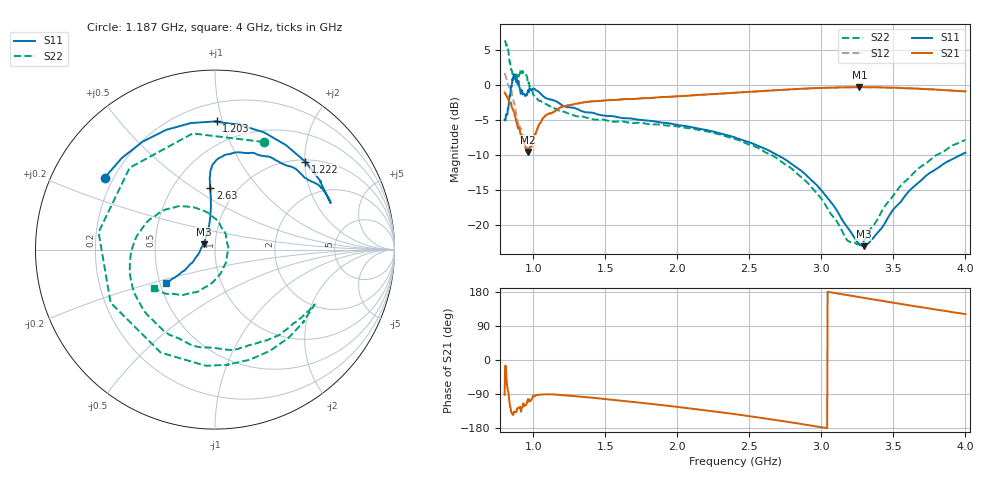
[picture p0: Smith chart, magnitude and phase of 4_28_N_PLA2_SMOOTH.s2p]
!Keysight Technologies N9950B: A.12.38
!Date: Friday, 28 April 2023 16:37:15
!Timezone: (UTC-06:00) Central Time (US & Canada)
!Model: N9950B
!Serial: MY61131330
!GPS Latitude:
!GPS Longitude:
!GPS TimeStamp: 0001-01-01 00:00:00Z
!GPS Seconds Since Last Read: 0
!CHECKSUM:1011136914
!Correction: S11(ON U)S21(ON U)S12(ON U)S22(ON U)
!S2P File: Measurements:S11,S21,S12,S22:
# Hz S DB R 50
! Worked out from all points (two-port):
!   1001 points, 800 MHz to 4 GHz, reference 50 ohm
!   highest |S21| = -0.27 dB at 3.264 GHz (marker M1); lowest = -9.6 dB at 960 MHz (marker M2)
!   |S21| within 3 dB of the highest: start of sweep to 853 MHz; 1.18 GHz to end of sweep
!   lowest |S11| = -23.1 dB at 3.293 GHz (marker M3), VSWR 1.15, Z = 44 + j2.68 ohm
!   |S11| at or under -10 dB: 2.69 GHz to 3.967 GHz (1.277 GHz wide, 38.4 % of centre)
!   |S22| runs from -22.9 to 6.4 dB; largest |S21 - S12| = 0.86
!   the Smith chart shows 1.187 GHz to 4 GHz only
!   S11 on the Smith chart (normalised r, x): 1.187 GHz: 0.17, +0.29; 1.203 GHz: 0.33, +0.96; 1.222 GHz: 1.04, +2.02; 2.63 GHz: 0.75, +0.58; 4 GHz: 0.54, -0.23
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8e8  -4.96 131.6  -1.04 -92.0  1.75 -47.2  6.43 49.5
8.192e8  -4.23 105.2  -1.78 -72.6  0.53 -44.7  5.74 -35.5
8.416e8  -0.75 113.1  -2.54 -126.5  -0.42 -96.9  2.73 -45.1
8.608e8  1.27 115.5  -3.61 -145.1  -2.10 -125.4  1.29 -70.2
9.248e8  -1.31 122.7  -7.85 -123.9  -7.14 -112.7  2.06 -104.9
9.6e8  -0.85 146.7  -9.57 -106.3  -9.34 -102.4  0.54 -137.7
1.008e9  -0.54 163.8  -7.15 -96.1  -7.17 -96.1  -1.58 -156.3
1.1456e9  -2.21 -171.9  -3.76 -91.0  -3.77 -91.0  -3.29 170.9
1.1616e9  -2.34 178.9  -3.53 -91.7  -3.54 -91.7  -3.44 -156.6
1.1744e9  -2.51 169.0  -3.35 -92.1  -3.35 -92.1  -3.59 -51.5
1.1872e9  -2.69 147.0  -3.20 -92.5  -3.20 -92.5  -3.64 65.7
1.2032e9  -2.92 89.3  -3.06 -92.9  -3.05 -92.9  -3.76 -117.8
1.2224e9  -3.07 44.2  -2.96 -93.3  -2.96 -93.4  -3.88 -50.1
1.3344e9  -3.70 36.2  -2.50 -97.1  -2.50 -97.0  -4.53 -51.1
1.8688e9  -5.29 80.1  -1.73 -118.1  -1.73 -118.1  -5.63 -137.4
2.4e9  -7.50 93.6  -1.08 -142.9  -1.08 -142.9  -7.72 158.8
2.6304e9  -9.32 94.4  -0.78 -155.5  -0.78 -155.4  -9.81 132.7
2.9344e9  -13.69 96.8  -0.43 -173.4  -0.43 -173.4  -14.72 94.3
3.264e9  -22.82 144.1  -0.27 166.0  -0.27 166.0  -22.89 -11.9
3.2928e9  -23.09 154.4  -0.28 164.3  -0.28 164.3  -22.43 -28.4
3.4688e9  -18.78 -158.1  -0.35 153.0  -0.35 153.0  -16.61 -82.0
4e9  -9.68 -145.5  -0.87 121.0  -0.87 121.0  -7.87 -148.0
